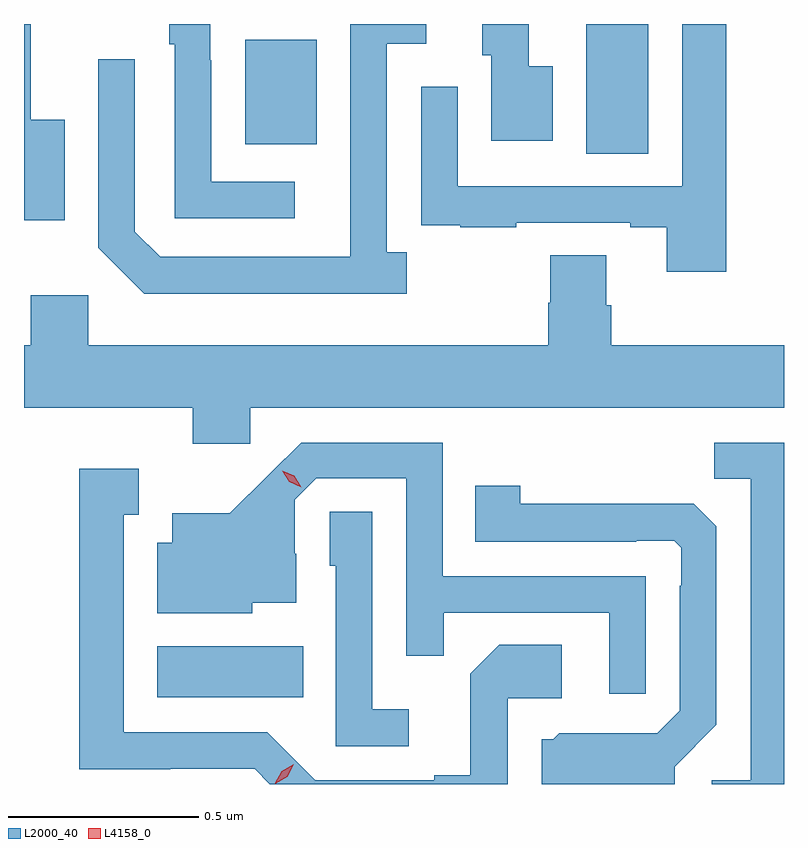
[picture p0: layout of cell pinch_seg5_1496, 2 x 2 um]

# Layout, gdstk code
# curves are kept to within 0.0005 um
import gdstk
lib = gdstk.Library(unit=1e-6, precision=1e-09)
def R(c, l, rs):  # rectangles x0, y0, x1, y1
    for r in rs: c.add(gdstk.rectangle(r[:2], r[2:], *l))
def P(c, l, *ps):  # polygons
    for p in ps: c.add(gdstk.Polygon(p, *l))
L2000_40 = (2000, 40)
L4158_0 = (4158, 0)

pinch_seg5_1496 = lib.new_cell('pinch_seg5_1496')
R(pinch_seg5_1496, L2000_40, [(146.696,891.962,147.08,892.096), (147.824,893.392,147.988,893.734), (146.927,893.417,147.115,893.692)])
P(pinch_seg5_1496, L2000_40, [(147.058,893.319),(146.838,893.319),(146.838,893.639),(146.835,893.639),(146.835,893.734),(146.727,893.734),(146.727,893.681),(146.742,893.681),(146.742,893.223),(147.058,893.223)],
  [(147.736,893.623),(147.673,893.623),(147.673,893.734),(147.551,893.734),(147.551,893.652),(147.575,893.652),(147.575,893.427),(147.736,893.427)],
  [(147.352,893.134),(147.3,893.134),(147.3,893.682),(147.403,893.682),(147.403,893.734),(147.204,893.734),(147.204,893.321),(147.203,893.321),(147.203,893.121),(146.703,893.121),(146.637,893.187),(146.637,893.641),(146.541,893.641),(146.541,893.145),(146.662,893.024),(147.352,893.024)],
  [(148.193,893.734),(148.077,893.734),(148.077,893.307),(147.486,893.307),(147.486,893.569),(147.39,893.569),(147.39,893.314),(147.391,893.314),(147.391,893.205),(147.493,893.205),(147.493,893.199),(147.641,893.199),(147.641,893.211),(147.941,893.211),(147.941,893.199),(148.037,893.199),(148.037,893.082),(148.193,893.082)],
  [(146.452,893.482),(146.363,893.482),(146.363,893.734),(146.345,893.734),(146.345,893.218),(146.452,893.218)],
  [(146.94,892.724),(148.345,892.724),(148.345,892.888),(147.89,892.888),(147.89,892.994),(147.877,892.994),(147.877,893.126),(147.73,893.126),(147.73,893.001),(147.725,893.001),(147.725,892.888),(146.514,892.888),(146.514,893.02),(146.363,893.02),(146.363,892.888),(146.345,892.888),(146.345,892.724),(146.789,892.724),(146.789,892.629),(146.94,892.629)],
  [(148.345,892.632),(148.162,892.632),(148.162,892.537),(148.257,892.537),(148.257,891.744),(148.155,891.744),(148.155,891.734),(148.345,891.734)],
  [(147.981,892.281),(147.447,892.281),(147.447,892.632),(147.074,892.632),(146.887,892.447),(146.735,892.447),(146.735,892.369),(146.696,892.369),(146.696,892.184),(146.946,892.184),(146.946,892.211),(147.061,892.211),(147.061,892.34),(147.057,892.34),(147.057,892.482),(147.114,892.539),(147.351,892.539),(147.351,892.072),(147.449,892.072),(147.449,892.185),(147.885,892.185),(147.885,891.972),(147.981,891.972)],
  [(147.618,891.96),(147.76,891.96),(147.76,892.1),(147.595,892.1),(147.519,892.024),(147.519,891.757),(147.425,891.757),(147.425,891.744),(147.111,891.744),(146.985,891.87),(146.608,891.87),(146.608,892.443),(146.647,892.443),(146.647,892.564),(146.49,892.564),(146.49,891.773),(146.73,891.773),(146.73,891.774),(146.952,891.774),(146.992,891.734),(147.618,891.734)],
  [(148.057,891.78),(148.167,891.89),(148.167,892.412),(148.108,892.471),(148.007,892.471),(148.007,892.472),(147.651,892.472),(147.651,892.519),(147.532,892.519),(147.532,892.371),(147.956,892.371),(147.956,892.374),(148.056,892.374),(148.074,892.356),(148.074,892.256),(148.071,892.256),(148.071,891.927),(148.011,891.867),(147.888,891.867),(147.888,891.868),(147.754,891.868),(147.738,891.852),(147.707,891.852),(147.707,891.734),(148.057,891.734)],
  [(147.358,891.931),(147.261,891.931),(147.261,892.451),(147.15,892.451),(147.15,892.308),(147.165,892.308),(147.165,891.834),(147.358,891.834)])
P(pinch_seg5_1496, L4158_0, [(147.074,892.515),(147.043,892.53),(147.024,892.559),(147.024,892.559),(147.025,892.559),(147.056,892.545),(147.074,892.515),(147.074,892.515)],
  [(147.005,891.735),(147.005,891.735),(147.023,891.767),(147.055,891.786),(147.055,891.786),(147.055,891.786),(147.038,891.753),(147.006,891.735)])

lib.write_gds('pinch_seg5_1496.gds')
